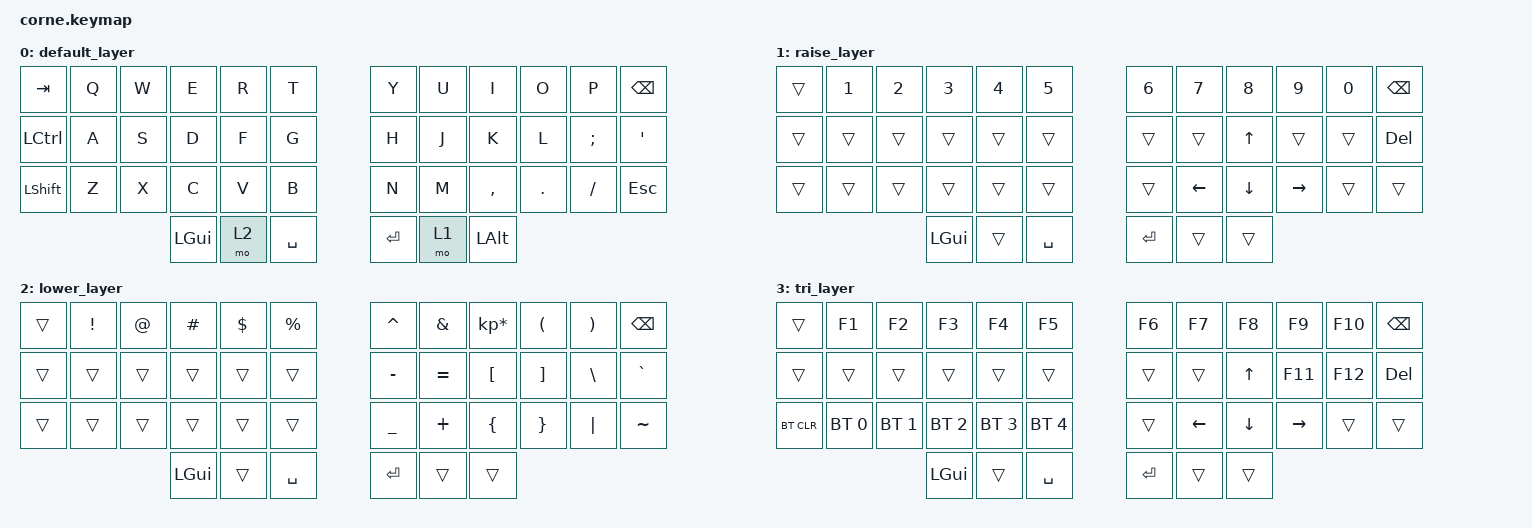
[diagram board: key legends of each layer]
/*
 * Copyright (c) 2020 The ZMK Contributors
 *
 * SPDX-License-Identifier: MIT
 */

#include <behaviors.dtsi>
#include <dt-bindings/zmk/keys.h>
#include <dt-bindings/zmk/bt.h>

/ {
        conditional_layers {
                compatible = "zmk,conditional-layers";
                tri_layer {
                        if-layers = <1 2>;
                        then-layer = <3>;
                };
        };
        keymap {
                compatible = "zmk,keymap";

                default_layer {
// -----------------------------------------------------------------------------------------
// |  TAB |  Q  |  W  |  E  |  R  |  T  |   |  Y  |  U   |  I  |  O  |  P  | BKSP |
// | CTRL |  A  |  S  |  D  |  F  |  G  |   |  H  |  J   |  K  |  L  |  ;  |  '   |
// | SHFT |  Z  |  X  |  C  |  V  |  B  |   |  N  |  M   |  ,  |  .  |  /  | ESC  |
//                    | GUI | LWR | SPC |   | ENT |  +  | LALT|
                        bindings = <
   &kp TAB   &kp Q &kp W &kp E &kp R &kp T   &kp Y &kp U  &kp I     &kp O   &kp P    &kp BSPC
   &kp LCTRL &kp A &kp S &kp D &kp F &kp G   &kp H &kp J  &kp K     &kp L   &kp SEMI &kp SQT
   &kp LSHFT &kp Z &kp X &kp C &kp V &kp B   &kp N &kp M  &kp COMMA &kp DOT &kp FSLH &kp ESC
                  &kp LGUI &mo 2 &kp SPACE   &kp RET &mo 1 &kp LALT
                        >;
                };

                raise_layer {
// -----------------------------------------------------------------------------------------
// |      |  1  |  2  |  3  |  4  |  5  |   |  6  |  7  |  8  |  9  |  0  | BKSP |
// |      |     |     |     |     |     |   |     |     |  UP |     |     | DEL  |
// |      |     |     |     |     |     |   |     | LFT | DWN | RGT |     |      |
//                    | GUI |     | SPC |   | ENT |     |     |
                        bindings = <
   &trans  &kp N1       &kp N2       &kp N3       &kp N4       &kp N5         &kp N6   &kp N7    &kp N8       &kp N9      &kp N0 	&kp BSPC
   &trans  &trans       &trans       &trans       &trans       &trans         &trans   &trans    &kp UP       &trans 	  &trans 	&kp DELETE
   &trans  &trans       &trans       &trans       &trans       &trans         &trans   &kp LEFT  &kp DOWN     &kp RIGHT   &trans 	&trans
                                     &kp LGUI     &trans       &kp SPACE      &kp RET  &trans    &trans
                        >;
                };

                lower_layer {
// -----------------------------------------------------------------------------------------
// |      |  !  |  @  |  #  |  $  |  %  |   |  ^  |  &  |  *  |  (  |  )  | BKSP |
// |      |     |     |     |     |     |   |  -  |  =  |  [  |  ]  |  \  |  `   |
// |      |     |     |     |     |     |   |  _  |  +  |  {  |  }  | "|" |  ~   |
//                    | GUI |     | SPC |   | ENT |     |     |
                        bindings = <
   &trans  &kp EXCL &kp AT &kp HASH &kp DLLR &kp PRCNT   &kp CARET &kp AMPS  &kp KP_MULTIPLY &kp LPAR &kp RPAR &kp BSPC
   &trans  &trans   &trans &trans   &trans   &trans      &kp MINUS &kp EQUAL &kp LBKT        &kp RBKT &kp BSLH &kp GRAVE
   &trans  &trans   &trans &trans   &trans   &trans      &kp UNDER &kp PLUS  &kp LBRC        &kp RBRC &kp PIPE &kp TILDE
                           &kp LGUI &trans   &kp SPACE   &kp RET   &trans    &trans
                        >;
                };

                tri_layer {

// -----------------------------------------------------------------------------------------
// |       | F1  | F2  | F3  | F4  | F5  |   |  F6 | F7  | F8  | F9  | F10 | BKSP |
// |       |     |     |     |     |     |   |     |     |  UP | F11 | F12 | DEL  |
// | BT_CL | BT0 | BT1 | BT2 | BT3 | BT4 |   |     | LFT | DWN | RGT |     |      |
//                     | GUI |     | SPC |   | ENT |     |     |
                        bindings = <
   &trans     &kp F1       &kp F2       &kp F3       &kp F4       &kp F5         &kp F6   &kp F7   &kp F8 	&kp F9    	&kp F10 &kp BSPC
   &trans     &trans       &trans       &trans       &trans       &trans         &trans   &trans   &kp UP 	&kp F11 	&kp F12 &kp DELETE
   &bt BT_CLR &bt BT_SEL 0 &bt BT_SEL 1 &bt BT_SEL 2 &bt BT_SEL 3 &bt BT_SEL 4   &trans   &kp LEFT &kp DOWN     &kp RIGHT       &trans 	&trans
                                        &kp LGUI     &trans       &kp SPACE      &kp RET  &trans   &trans
                        >;
                };
        };
};
